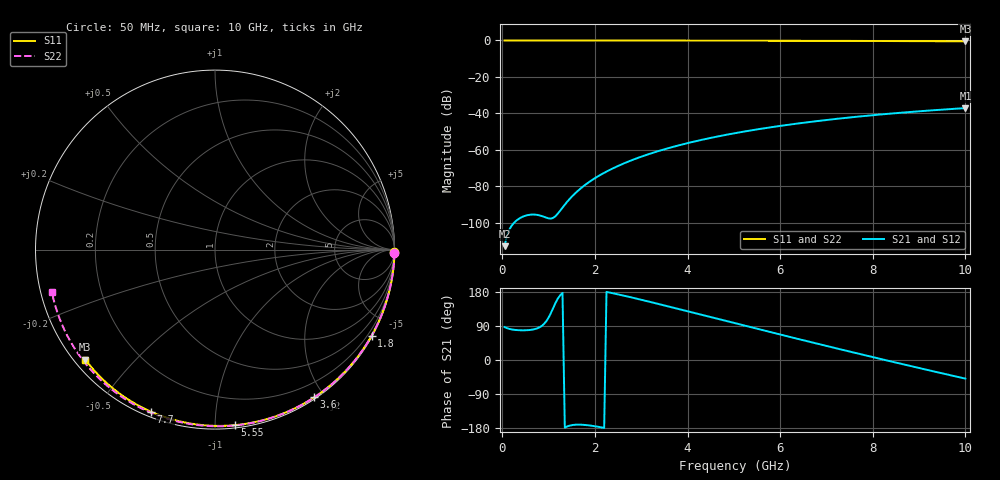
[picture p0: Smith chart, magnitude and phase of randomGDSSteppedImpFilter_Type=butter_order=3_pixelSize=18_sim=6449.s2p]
! freq	dB(S11)	phase(S11)	dB(S12)	phase(S12)
!  dB(S21)	phase(S21)	dB(S22)	phase(S22)
!S-par simulation data
#  GHz  S  DB  R 50
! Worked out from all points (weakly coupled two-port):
!   200 points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, 50 MHz to 10 GHz, reference 50 ohm
!   highest |S21| = -37.12 dB at 10 GHz (marker M1); lowest = -112.9 dB at 50 MHz (marker M2)
!   lowest |S11| = -0.5 dB at 10 GHz (marker M3), VSWR 36.78, Z = 1.54 - j18.3 ohm
!   |S11| at or under -10 dB: nowhere
!   |S22| runs from -0.5 to 0.0 dB; largest |S21 - S12| = 0
!   S11 on the Smith chart (normalised r, x): 50 MHz: open; 1.8 GHz: 0.03, -3.90; 3.6 GHz: 0.02, -1.88; 5.55 GHz: 0.02, -1.12; 7.7 GHz: 0.02, -0.68; 10 GHz: 0.03, -0.37
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0.05  -0.00 -0.8  -112.85 86.9  -112.85 86.9  -0.00 -1.0
0.45  -0.01 -7.3  -96.60 78.3  -96.60 78.3  -0.01 -8.7
0.85  -0.02 -13.7  -96.30 89.8  -96.30 89.8  -0.02 -16.3
1.3  -0.03 -20.9  -91.67 177.0  -91.67 177.0  -0.03 -24.8
1.75  -0.04 -28.0  -79.99 -171.1  -79.99 -171.1  -0.04 -33.1
1.8  -0.04 -28.7  -79.03 -171.6  -79.03 -171.6  -0.04 -34.1
1.95  -0.04 -31.1  -76.38 -173.9  -76.38 -173.9  -0.05 -36.8
2.1  -0.04 -33.4  -74.03 -176.9  -74.03 -176.9  -0.05 -39.6
2.3  -0.05 -36.5  -71.27 178.4  -71.27 178.4  -0.06 -43.2
2.5  -0.05 -39.6  -68.84 173.2  -68.84 173.2  -0.06 -46.8
2.9  -0.06 -45.7  -64.69 161.9  -64.69 161.9  -0.07 -54.0
3.4  -0.07 -53.1  -60.45 147.0  -60.45 147.0  -0.08 -62.7
3.6  -0.08 -56.1  -58.98 141.0  -58.98 141.0  -0.09 -66.2
4.3  -0.09 -66.2  -54.55 119.4  -54.55 119.4  -0.11 -78.0
5.05  -0.12 -76.8  -50.74 96.3  -50.74 96.3  -0.14 -90.3
5.55  -0.14 -83.6  -48.60 80.9  -48.60 80.9  -0.16 -98.2
6.1  -0.16 -91.0  -46.52 64.2  -46.52 64.2  -0.19 -106.8
6.7  -0.19 -98.8  -44.53 46.1  -44.53 46.1  -0.23 -116.0
7.7  -0.26 -111.5  -41.73 16.4  -41.73 16.4  -0.30 -131.0
8.35  -0.31 -119.6  -40.20 -2.5  -40.20 -2.5  -0.36 -140.6
9.2  -0.38 -130.0  -38.48 -26.8  -38.48 -26.8  -0.45 -153.4
10  -0.47 -139.7  -37.12 -49.2  -37.12 -49.2  -0.55 -165.6
